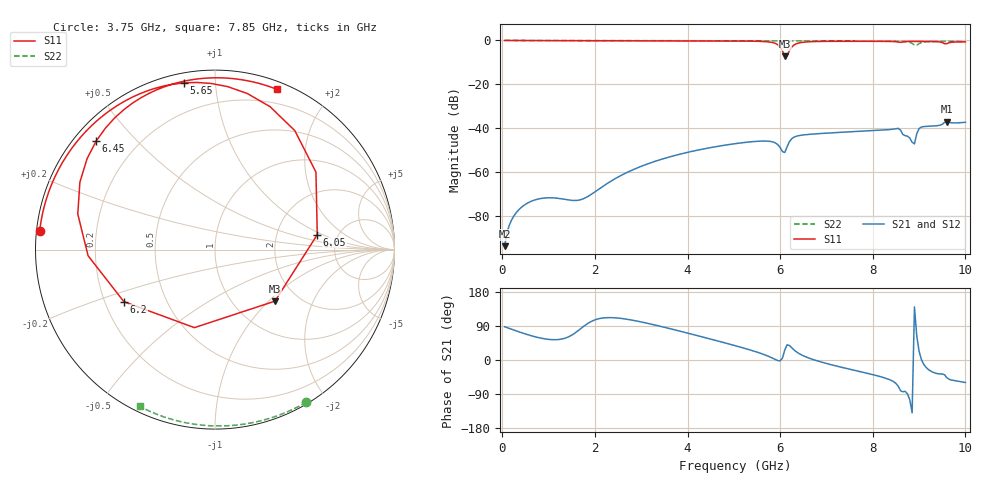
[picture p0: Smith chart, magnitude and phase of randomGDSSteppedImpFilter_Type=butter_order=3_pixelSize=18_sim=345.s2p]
! freq	dB(S11)	phase(S11)	dB(S12)	phase(S12)
!  dB(S21)	phase(S21)	dB(S22)	phase(S22)
!S-par simulation data
#  GHz  S  DB  R 50
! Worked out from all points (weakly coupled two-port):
!   200 points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, 50 MHz to 10 GHz, reference 50 ohm
!   highest |S21| = -36.94 dB at 9.6 GHz (marker M1); lowest = -93.6 dB at 50 MHz (marker M2)
!   lowest |S11| = -7.1 dB at 6.1 GHz (marker M3), VSWR 2.57, Z = 76.6 - j54.6 ohm
!   |S11| at or under -10 dB: nowhere
!   |S22| runs from -2.2 to 0.0 dB; largest |S21 - S12| = 0
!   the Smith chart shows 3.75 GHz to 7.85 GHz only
!   S11 on the Smith chart (normalised r, x): 3.75 GHz: 0.01, +0.05; 5.65 GHz: 0.05, +0.83; 6.05 GHz: 3.48, +0.87; 6.2 GHz: 0.28, -0.25; 6.45 GHz: 0.06, +0.39; 7.85 GHz: 0.07, +1.46
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0.05  -0.00 -3.7  -93.63 87.8  -93.63 87.8  -0.00 -0.8
0.9  -0.08 -63.0  -71.73 56.2  -71.73 56.2  -0.02 -14.7
1.75  -0.11 -110.2  -72.05 88.2  -72.05 88.2  -0.04 -28.3
2.55  -0.13 -144.5  -61.60 110.0  -61.60 110.0  -0.05 -40.9
3.4  -0.14 -174.6  -54.33 89.3  -54.33 89.3  -0.07 -53.9
3.75  -0.16 174.0  -52.23 78.8  -52.23 78.8  -0.08 -59.1
5.05  -0.24 130.9  -46.91 37.1  -46.91 37.1  -0.12 -77.8
5.65  -0.49 100.5  -45.78 14.4  -45.78 14.4  -0.14 -86.2
5.9  -1.38 68.9  -46.68 1.1  -46.68 1.1  -0.15 -89.6
6.05  -4.79 8.3  -50.58 5.1  -50.58 5.1  -0.16 -91.6
6.1  -7.12 -40.7  -51.01 26.6  -51.01 26.6  -0.16 -92.3
6.15  -6.94 -104.8  -48.40 40.0  -48.40 40.0  -0.17 -93.0
6.2  -4.66 -150.2  -46.05 38.2  -46.05 38.2  -0.17 -93.6
6.3  -2.05 165.5  -44.01 26.5  -44.01 26.5  -0.17 -95.0
6.45  -0.95 137.6  -43.14 14.1  -43.14 14.1  -0.18 -97.0
6.7  -0.53 116.1  -42.61 1.6  -42.61 1.6  -0.19 -100.3
7.85  -0.38 68.8  -41.22 -34.2  -41.22 -34.2  -0.28 -115.6
8.35  -0.44 51.5  -40.59 -51.3  -40.59 -51.3  -0.34 -122.7
8.9  -0.43 34.5  -47.06 140.1  -47.06 140.1  -2.08 -132.1
9  -0.44 31.0  -40.10 22.8  -40.10 22.8  -1.42 -122.9
9.6  -1.45 14.2  -36.94 -46.7  -36.94 -46.7  -0.47 -135.1
10  -0.64 0.1  -37.25 -59.3  -37.25 -59.3  -0.49 -140.6
